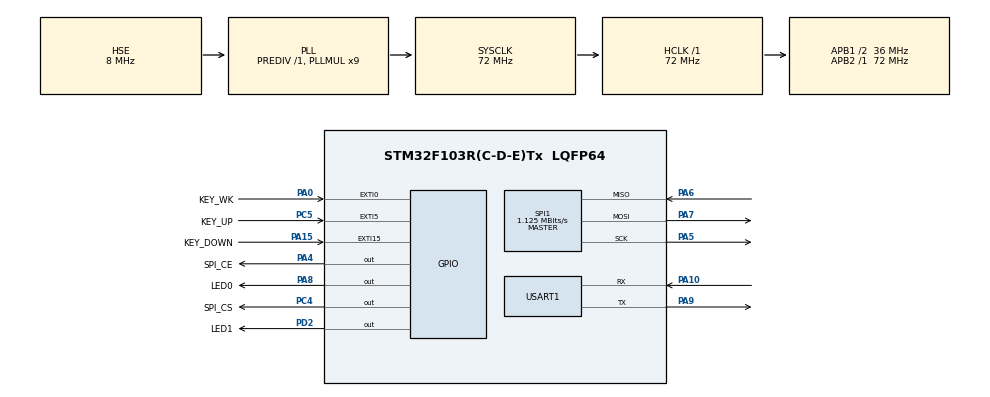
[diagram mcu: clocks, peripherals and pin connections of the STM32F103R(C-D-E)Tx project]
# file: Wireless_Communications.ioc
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Mcu.Family=STM32F1
Mcu.Name=STM32F103R(C-D-E)Tx
Mcu.Package=LQFP64
NVIC.EXTI0_IRQn=true\:1\:0\:true\:false\:true\:true\:true
NVIC.EXTI15_10_IRQn=true\:1\:2\:true\:false\:true\:true\:true
NVIC.EXTI9_5_IRQn=true\:1\:1\:true\:false\:true\:true\:true
NVIC.PriorityGroup=NVIC_PRIORITYGROUP_2
NVIC.SPI1_IRQn=true\:2\:0\:true\:false\:true\:true\:true
NVIC.USART1_IRQn=true\:0\:0\:false\:false\:true\:true\:true
PA0-WKUP.GPIO_Label=KEY_WK
PA0-WKUP.GPIO_PuPd=GPIO_PULLDOWN
PA0-WKUP.Signal=GPXTI0
PA10.Mode=Asynchronous
PA10.Signal=USART1_RX
PA13.Mode=Serial_Wire
PA13.Signal=SYS_JTMS-SWDIO
PA14.Mode=Serial_Wire
PA14.Signal=SYS_JTCK-SWCLK
PA15.GPIO_Label=KEY_DOWN
PA15.GPIO_PuPd=GPIO_PULLUP
PA15.Signal=GPXTI15
PA4.GPIO_Label=SPI_CE
PA4.Signal=GPIO_Output
PA5.Mode=Full_Duplex_Master
PA5.Signal=SPI1_SCK
PA6.Mode=Full_Duplex_Master
PA6.Signal=SPI1_MISO
PA7.Mode=Full_Duplex_Master
PA7.Signal=SPI1_MOSI
PA8.GPIO_Label=LED0
PA8.Signal=GPIO_Output
PA9.Mode=Asynchronous
PA9.Signal=USART1_TX
PC4.GPIO_Label=SPI_CS
PC4.Signal=GPIO_Output
PC5.GPIO_Label=KEY_UP
PC5.GPIO_PuPd=GPIO_PULLUP
PC5.Signal=GPXTI5
PD0-OSC_IN.Mode=HSE-External-Oscillator
PD0-OSC_IN.Signal=RCC_OSC_IN
PD1-OSC_OUT.Mode=HSE-External-Oscillator
PD1-OSC_OUT.Signal=RCC_OSC_OUT
PD2.GPIO_Label=LED1
PD2.Signal=GPIO_Output
ProjectManager.HeapSize=0x200
ProjectManager.StackSize=0x400
ProjectManager.TargetToolchain=STM32CubeIDE
RCC.AHBFreq_Value=72000000
RCC.APB1CLKDivider=RCC_HCLK_DIV2
RCC.APB1Freq_Value=36000000
RCC.APB1TimFreq_Value=72000000
RCC.APB2Freq_Value=72000000
RCC.APB2TimFreq_Value=72000000
RCC.HCLKFreq_Value=72000000
RCC.PLLMUL=RCC_PLL_MUL9
RCC.PLLSourceVirtual=RCC_PLLSOURCE_HSE
RCC.SYSCLKFreq_VALUE=72000000
RCC.SYSCLKSource=RCC_SYSCLKSOURCE_PLLCLK
RCC.USBFreq_Value=72000000
SPI1.BaudRatePrescaler=SPI_BAUDRATEPRESCALER_64
SPI1.CalculateBaudRate=1.125 MBits/s
SPI1.Direction=SPI_DIRECTION_2LINES
SPI1.Mode=SPI_MODE_MASTER
SPI1.VirtualType=VM_MASTER
USART1.VirtualMode=VM_ASYNC
board=custom

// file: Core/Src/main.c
/* USER CODE BEGIN Header */
/**
 ******************************************************************************
 * @file           : main.c
 * @brief          : Main program body
 ******************************************************************************
 * @attention
 *
 * <h2><center>&copy; Copyright (c) 2020 STMicroelectronics.
 * All rights reserved.</center></h2>
 *
 * This software component is licensed by ST under BSD 3-Clause license,
 * the "License"; You may not use this file except in compliance with the
 * License. You may obtain a copy of the License at:
 *                        opensource.org/licenses/BSD-3-Clause
 *
 ******************************************************************************
 */
/* USER CODE END Header */

#include "main.h"
#include "spi.h"
#include "usart.h"
#include "gpio.h"

/* USER CODE BEGIN Includes */
#include "lcd.h"
#include "stdio.h"
#include "nrf24L01.h"
#include "string.h"
#include "time.h"
/* USER CODE END Includes */

/* USER CODE BEGIN PM */
#define STATE_UNCHECK_MODE 0
#define STATE_IDLE 1
#define STATE_REQ_CONN 2
#define STATE_WAIT_CONN 3
#define STATE_TRY_SEND 4
#define STATE_TRY_RECV 5

#define l 22
/* USER CODE END PM */

/* USER CODE BEGIN PV */
// addr
extern uint8_t TX_ADDRESS[]; //send address
extern uint8_t RX_ADDRESS[]; //接收地址

extern uint8_t recv_ch;
extern uint8_t send_ch;
uint8_t init = 1;

// command
static uint8_t cmd_flag = 0;
static uint8_t cmd_buff[33] = "wuwu\0";
static int TLE_SCALE = 10;

static uint8_t friend_mode = 0;
static int send_to_friend = 2;

// LCD
int lastOutput = 0;
int fontColor[100];

char outputData[100][l + 1];
static uint8_t counter = 0;

static int state = 0;
static int conn_init_flag = 0;

// 串口数据
static int uLength = 0;
uint8_t rxBuffer[33];
static uint8_t inputData[60] = " \0";
static uint8_t send_flag = 0;
static uint8_t recv_flag = 0;
static uint8_t send_buff[60] = "send~~0";
static uint8_t recv_buff[60] = " \0";

static uint8_t tip[] =
		"Command Format <code>:<content>\n"
				" code         meaning                          detail in content\n"
				"  1   Modify message recv address      Ten digit hexadecimal number\n"
				"  2   Modify message send address      Ten digit hexadecimal number\n"
				"  3   Modify RF recv channel           Decimal number less than 255\n"
				"  4   Modify RF send receive channel   Decimal number less than 255\n"
				"  5   Modify TLE time                  Decimal number, int, unit is second\n"
				"  6   Modify friend mode               0 is unset friend mode, 1 is set\n"
				"  7   Modify send/recv mode            0: recv mode, 1: send recv mode, valid in friend mode\n"
				"  8   Print this help message          There can be no content, but don't forget the colon : \n";
/* USER CODE END PV */

void SystemClock_Config(void);

/* USER CODE BEGIN 0 */

void reset_flags() {
	send_flag = 0;
	recv_flag = 0;
	state = 0;
	conn_init_flag = 0;
	counter = 0;
	lastOutput = 0;
	cmd_flag = 0;

	init = 1;
	LCD_Rec();
//	NRF24L01_TX_Mode();
	NRF24L01_Init();
	HAL_GPIO_WritePin(LED0_GPIO_Port, LED0_Pin, GPIO_PIN_SET);
	HAL_GPIO_WritePin(LED1_GPIO_Port, LED1_Pin, GPIO_PIN_SET);
	LCD_Fill(181, 21, 199, 29, YELLOW);
}
int substr(char dst[], char src[], int start, int len) {
	char *p = src + start;   //定义指针变量指向�??要提取的字符的地�??
	int n = strlen(p);       //求字符串长度
	int i = 0;
	if (n < len) {
		len = n;

	}
	while (len != 0) {
		dst[i] = src[i + start];
		len--;
		i++;
	}                        //复制字符串到dst�??
	dst[i] = '\0';
	return 0;
}

void LCD_Rec() {
	if (init == 1) {
		LCD_Clear(GRAY);

		LCD_Fill(10, 10, 220, 90, WHITE);
		LCD_Fill(5, 5, 10, 95, YELLOW);
		LCD_Fill(10, 5, 50, 10, YELLOW);
		LCD_Fill(230, 100, 240, 310, YELLOW);
		LCD_Fill(100, 310, 240, 320, YELLOW);
		POINT_COLOR = BLACK;
		init = 0;

	}
}
void LCD_Head() {
	uint8_t temp[32];
	POINT_COLOR = RED;
	LCD_ShowString(15, 15, 200, 24, 24, (uint8_t*) "Group: 30");
	LCD_ShowNum(155, 20, TLE_SCALE, 3, 12);
	char LocalMac[] = { };
	POINT_COLOR = BLUE;
	sprintf(temp, "S: %02x.%02x.%02x.%02x.%02x / %d", TX_ADDRESS[0],
			TX_ADDRESS[1], TX_ADDRESS[2], TX_ADDRESS[3], TX_ADDRESS[4],
			send_ch);
	LCD_ShowString(55, 50, 200, 24, 12, (uint8_t*) temp);

	sprintf(temp, "R: %02x.%02x.%02x.%02x.%02x / %d", RX_ADDRESS[0],
			RX_ADDRESS[1], RX_ADDRESS[2], RX_ADDRESS[3], RX_ADDRESS[4],
			recv_ch);
	LCD_ShowString(55, 65, 200, 24, 12, (uint8_t*) temp);

	/*LCD_ShowString(10, 45, 200, 24, 12, (uint8_t*) TX_ADDRESS); //local mac
	 LCD_ShowString(10, 60, 200, 24, 12, (uint8_t*) RX_ADDRESS); //pair mac
	 LCD_ShowString(70, 45, 200, 24, 12, (uint8_t*) recv_ch); //local ch
	 LCD_ShowString(70, 60, 200, 24, 12, (uint8_t*) send_ch); //pair ch*/

	if (NRF24L01_Check() == 1) {
//		POINT_COLOR = RED;
//		LCD_DrawRectangle(180, 20, 200, 30);
		LCD_Fill(181, 21, 199, 29, RED);
//		LCD_ShowString(100, 10, 200, 24, 16, (uint8_t*) "NRF24L01 is ERROR");
	} else {
//		POINT_COLOR = GREEN;
//		LCD_ShowString(100, 10, 200, 24, 16, (uint8_t*) "NRF24L01 is OK");
//		LCD_DrawRectangle(180, 20, 200, 30);
		if (state == STATE_TRY_SEND || state == STATE_TRY_RECV) {
			LCD_Fill(181, 21, 199, 29, GREEN);
		} else {
			LCD_Fill(181, 21, 199, 29, YELLOW);
		}

	}
}

void LCD_Unconn() {
	//LCD_Head();
	LCD_Rec();
//	LCD_ShowString(10, 75, 200, 24, 12, (uint8_t*) "KEY_0: disconnect");
//	LCD_ShowString(10, 90, 200, 24, 12,
//			(uint8_t*) "Use \"\" to set new pair MAC");
//	LCD_ShowString(10, 105, 200, 24, 12,
//			(uint8_t*) "Use \"\" to set new channel");

}

void LCD_Conn() {
	if (send_flag == 0 && recv_flag == 0) {
		if (conn_init_flag == 0) {
			return;
		} else {
			conn_init_flag = 0;
		}

	}
	char *white_space = "                    ";
	char inputData[1024] = { 0 };
	//LCD_Head();

	POINT_COLOR = YELLOW;
	LCD_Color_Fill(10, 110, 220, 300, WHITE);

	//inputData = {};

	if (send_flag == 1 && state == STATE_TRY_SEND) {
		int size_s = strlen(send_buff);
		int start_s = 0;

		while (size_s > 0) {
			if (size_s < l) {
				strcpy(outputData[lastOutput], white_space);
				int white_space_size = l - size_s;
				substr(outputData[lastOutput] + white_space_size, send_buff,
						start_s * l, size_s);
			} else {
				substr(outputData[lastOutput], send_buff, start_s * l, l);
			}
			fontColor[lastOutput] = 0;
			size_s -= l;
			++start_s;

			++lastOutput;

		}
	}                        //send
	if (recv_flag == 1 && state == STATE_TRY_RECV) {
		int size_r = strlen(recv_buff);
		int start_r = 0;
		while (size_r > 0) {
			substr(outputData[lastOutput], recv_buff, start_r * l, l);
			++start_r;
			size_r -= l;
			fontColor[lastOutput] = 1;
			++lastOutput;
		} //receive
		recv_flag = 0;
	}
	int outpoint = lastOutput > 8 ? lastOutput - 8 : 0;
	int y = 110;

	while (outpoint < lastOutput) {
		POINT_COLOR = fontColor[outpoint] == 0 ? BRRED : BLACK;
		LCD_ShowString(25, y, 200, 15, 16, (uint8_t*) outputData[outpoint]);
		y += 24;
		++outpoint;
	}
	//LCD_ShowString(10, 130, 200, 10, 16, (uint8_t*) "SPACE");

}

uint8_t get_hex_num(uint8_t c) {
	if (c >= '0' && c <= '9') {
		return (uint8_t) (c - '0');
	} else if (c >= 'a' && c < 'z') {
		return (uint8_t) (c - 'a' + 10);
	}
	return (uint8_t) 1;
}

void LED_control() {
	if (counter % 20 == 0) {
		switch (state) {
		case STATE_UNCHECK_MODE:
			break;
		case STATE_IDLE:
			break;
		case STATE_REQ_CONN:
			HAL_GPIO_TogglePin(LED0_GPIO_Port, LED0_Pin);
			break;
		case STATE_WAIT_CONN:
			HAL_GPIO_TogglePin(LED0_GPIO_Port, LED0_Pin);
			break;
		case STATE_TRY_SEND:
			HAL_GPIO_TogglePin(LED0_GPIO_Port, LED0_Pin);
			HAL_GPIO_TogglePin(LED1_GPIO_Port, LED1_Pin);
			break;
		case STATE_TRY_RECV:
			HAL_GPIO_TogglePin(LED0_GPIO_Port, LED0_Pin);
			HAL_GPIO_TogglePin(LED1_GPIO_Port, LED1_Pin);
			break;
		default:
			break;

		}
	}

}
void HAL_UART_RxCpltCallback(UART_HandleTypeDef *huart) {
//	char msg[40];
	/*uint8_t *plus = '+';
	 HAL_UART_Transmit(&huart1, (uint8_t*) plus, strlen(plus), 1000);*/

	if (huart->Instance == USART1) {
		if (rxBuffer[0] == '\n') {
			inputData[uLength] = '\0';
			printf("DEBUG: data input from UART --> ");
			printf(inputData);
			printf("\n");
			if (inputData[0] > '0' && inputData[0] < '9'
					&& inputData[1] == ':') {
				cmd_flag = inputData[0] - '0';
				strcpy(cmd_buff, inputData + 2);
				switch (cmd_flag) {
				case 1:
					for (int i = 0; i < 5; ++i) {
						RX_ADDRESS[i] = get_hex_num(cmd_buff[2 * i]) * 16
								+ get_hex_num(cmd_buff[2 * i + 1]);
					}
					printf("DEBUG: Change RX_ADDRESS to %02x%02x%02x%02x%02x\n",
							RX_ADDRESS[0], RX_ADDRESS[1], RX_ADDRESS[2],
							RX_ADDRESS[3], RX_ADDRESS[4]);
					break;
				case 2:
					for (int i = 0; i < 5; ++i) {
						TX_ADDRESS[i] = get_hex_num(cmd_buff[2 * i]) * 16
								+ get_hex_num(cmd_buff[2 * i + 1]);
					}
					printf("DEBUG: Change TX_ADDRESS to %02x%02x%02x%02x%02x\n",
							TX_ADDRESS[0], TX_ADDRESS[1], TX_ADDRESS[2],
							TX_ADDRESS[3], TX_ADDRESS[4]);
					break;
				case 3:
					recv_ch = atoi(cmd_buff);
					printf("DEBUG: Change recv_ch to %s\n", cmd_buff);
					break;
				case 4:
					send_ch = atoi(cmd_buff);
					printf("DEBUG: Change send_ch to %s\n", cmd_buff);
					break;
				case 5:
					TLE_SCALE = atoi(cmd_buff);
					printf("DEBUG: Change TLE scale to %d\n", TLE_SCALE);
					break;
				case 6:
					friend_mode = atoi(cmd_buff);
					printf("DEBUG: Change friend mode to %d\n", friend_mode);
					break;
				case 7:
					if (friend_mode == 1) {
						send_to_friend = atoi(cmd_buff);
						if (send_to_friend == 1 && state == STATE_TRY_RECV) {
							state = STATE_TRY_SEND;
							printf(
									"DEBUG: Change mode to send to friend.\n");
						} else if (send_to_friend
								== 0&& state == STATE_TRY_SEND) {
							state = STATE_TRY_RECV;
							printf("DEBUG: Change mode to recv from friend.\n");
						}
					}
					break;
				case 8:
					printf(tip);
				default:
					break;
				}
			} else {
				strcpy(send_buff, inputData);
				send_flag = 1;
				/*printf("DEBUG: set send_flag: %d, data recv from uart: %s\n",
				 send_flag, inputData);*/

			}
			uLength = 0;
		} else {
			inputData[uLength] = rxBuffer[0];
			++uLength;
		}
	}
}

void try_conn() {
	uint8_t tmp_buff[33] = "-\0";
	uint8_t nrf_state = 0;

	if (state == STATE_REQ_CONN) {
		NRF24L01_TX_Mode();

		printf("DEBUG: Try conn other.\n");

		for (int i = 0; i < 180 * TLE_SCALE; ++i) {
			nrf_state = NRF24L01_TxPacket(tmp_buff);
			HAL_Delay(5);

			++counter;
			LED_control();

			if (nrf_state == TX_OK) {
				printf("DEBUG: Active request connection successful.\n");
				if(friend_mode == 1){
					printf("Recv mode, input command 7:1 change to Send Mode\n");
				}
				state = STATE_TRY_RECV;
				conn_init_flag = 1;
				HAL_GPIO_WritePin(LED0_GPIO_Port, LED0_Pin, GPIO_PIN_RESET);
				HAL_GPIO_WritePin(LED1_GPIO_Port, LED1_Pin, GPIO_PIN_SET);
				return;
			}

			if (state != STATE_REQ_CONN) {
				printf("DEBUG: Exit try request conn\n");
				break;
			}
		}
	}

	if (state == STATE_WAIT_CONN) {
		NRF24L01_RX_Mode();

		printf("DEBUG: Active connection fail, wait other conn me\n");

		for (int j = 0; j < 200 * TLE_SCALE; ++j) {
			nrf_state = NRF24L01_RxPacket(tmp_buff);
			HAL_Delay(5);
			++counter;
			LED_control();

			if (nrf_state == 0) {
				state = STATE_TRY_SEND;
				printf("DEBUG: Accept(passive) connection successful\n");
				if(friend_mode == 1){
					printf("Send mode, input command 7:0 change to Recv Mode or chat msg to send\n");
				}
				conn_init_flag = 1;
				HAL_GPIO_WritePin(LED0_GPIO_Port, LED0_Pin, GPIO_PIN_RESET);
				HAL_GPIO_WritePin(LED1_GPIO_Port, LED1_Pin, GPIO_PIN_SET);
				return;
			}
			if (state != STATE_WAIT_CONN) {
				printf("DEBUG: Exit try waiting conn\n");
				return;
			}

		}
		printf("DEBUG: Try conn time out, exit try conn\n");
//		state = STATE_IDLE;
		reset_flags();
	}

}

void try_recv() {
	uint8_t tmp_buff[60] = "+\0";
	uint8_t nrf_state = 0;

	NRF24L01_RX_Mode();

	for (int i = 0; i < 200 * TLE_SCALE; ++i) {
		if (state != STATE_TRY_RECV) {
			break;
		}
		++counter;
		LED_control();

		nrf_state = NRF24L01_RxPacket(tmp_buff);
		HAL_Delay(5);

		if (nrf_state == 0) {
			state = STATE_TRY_SEND;
			LCD_Fill(181, 21, 199, 29, GREEN);
			if (tmp_buff[0] == '@') {
				/*HAL_UART_Transmit(&huart1, (uint8_t*) recv_buff + 1,
				 strlen(recv_buff) - 1, 500);*/
				recv_flag = 1;
				strcpy(recv_buff, tmp_buff + 1);
				printf("DEBUG: recv --> ");
				printf(recv_buff);
				printf("\n");
			}
			return;
		}
		if (i > 140 * TLE_SCALE) {
			LCD_Fill(181, 21, 199, 29, YELLOW);
		}
	}

	if(friend_mode == 0 || state == STATE_IDLE ){
		printf("DEBUG: try recv ping time out, disconnect.\n");
			/*state = STATE_IDLE;
			 init = 1;*/
			reset_flags();
	}
}

void try_send() {
	uint8_t tmp_buff[60] = " \0";
	uint8_t nrf_state = 0;

	if (send_flag == 1) {
		tmp_buff[0] = '@';
		strcpy(tmp_buff + 1, send_buff);
	}

	NRF24L01_TX_Mode();

	for (int i = 0; i < 80 * TLE_SCALE; ++i) {
		if (state != STATE_TRY_SEND) {
			break;
		}

		++counter;
		LED_control();

		nrf_state = NRF24L01_TxPacket(tmp_buff);
//		HAL_Delay(5);

		if (nrf_state == TX_OK) {
			state = STATE_TRY_RECV;

			LCD_Fill(181, 21, 199, 29, GREEN);
			if (send_flag == 1) {
				send_flag = 0;
				printf("DEBUG: send --> ");
				printf(send_buff);
				printf("\n");
				/*HAL_UART_Transmit(&huart1, (uint8_t*) send_buff,
				 strlen(send_buff),
				 500);*/
			}
			return;
		}

		if (i > 56 * TLE_SCALE) {
			LCD_Fill(181, 21, 199, 29, YELLOW);
		}

	}

	if(friend_mode==0 || state == STATE_IDLE){
		printf("DEBUG: try send ping time out, disconnect.\n");
			/*state = STATE_IDLE;
			 init = 1;*/
			reset_flags();
	}
}

void HAL_GPIO_EXTI_Callback(uint16_t GPIO_Pin) {
//	HAL_Delay(100);
	switch (GPIO_Pin) {

	case KEY_UP_Pin:
		if (HAL_GPIO_ReadPin(KEY_UP_GPIO_Port, KEY_UP_Pin) == GPIO_PIN_RESET) {
			//HAL_GPIO_TogglePin(LED0_GPIO_Port, LED0_Pin);
			HAL_Delay(100);
			if (state == STATE_REQ_CONN) {
				state = STATE_WAIT_CONN;
				printf("DEBUG: Try waiting active conn\n");
			} else if (state == STATE_WAIT_CONN) {
				state = STATE_IDLE;
				reset_flags();
				printf("DEBUG: Active cancel connection\n");
			} else {
				/*state = STATE_IDLE;
				 init = 1;*/
				reset_flags();
				printf("DEBUG: Active disconnection\n");
			}
		}
		break;
	case KEY_DOWN_Pin:
		if (HAL_GPIO_ReadPin(KEY_DOWN_GPIO_Port, KEY_DOWN_Pin)
				== GPIO_PIN_RESET) {
//			HAL_Delay(100);
//	 HAL_GPIO_TogglePin(LED1_GPIO_Port, LED1_Pin);
			if (state == STATE_IDLE) {
				printf("DEBUG: Try active conn\n");
				state = STATE_REQ_CONN;
			} /*else if (state == STATE_REQ_CONN) {
			 state = STATE_WAIT_CONN;
			 printf("DEBUG: Try waiting active conn\n");
			 }*/
		}
		break;
	case KEY_WK_Pin:
		/*if (HAL_GPIO_ReadPin(KEY_WK_GPIO_Port, KEY_WK_Pin) == GPIO_PIN_SET) {
		 HAL_GPIO_TogglePin(LED0_GPIO_Port, LED0_Pin);
		 HAL_GPIO_TogglePin(LED1_GPIO_Port, LED1_Pin);
		 }*/
		break;
	default:
		break;
	}
}

/* USER CODE END 0 */

int main(void) {

	/* MCU Configuration--------------------------------------------------------*/

	/* Reset of all peripherals, Initializes the Flash interface and the Systick. */
	HAL_Init();

	/* USER CODE BEGIN Init */
	LCD_Init();
	/* USER CODE END Init */

	/* Configure the system clock */
	SystemClock_Config();

	/* Initialize all configured peripherals */
	MX_GPIO_Init();
	MX_SPI1_Init();
	MX_USART1_UART_Init();
	/* USER CODE BEGIN 2 */

	NRF24L01_Init();
	init = 1;
	LCD_Rec();
	state = STATE_UNCHECK_MODE;
	HAL_GPIO_WritePin(LED0_GPIO_Port, LED0_Pin, GPIO_PIN_SET);
	HAL_GPIO_WritePin(LED1_GPIO_Port, LED1_Pin, GPIO_PIN_SET);
	HAL_Delay(5);
	HAL_UART_Receive_IT(&huart1, (uint8_t*) rxBuffer, 1);

	for (int j = 0; j < 100; ++j) {
		outputData[j][l] = '\0';
	}
	printf(tip);
	/* USER CODE END 2 */

	/* Infinite loop */
	/* USER CODE BEGIN WHILE */

	while (1) {
		++counter;
		//printf("%d", state);
		HAL_Delay(20);
		if (counter % 25 == 0 && NRF24L01_Check() == 1) {
			state = STATE_UNCHECK_MODE;
			printf("DEBUG: Module exception.\n");
		}
		// USER CODE END WHILE
		LCD_Head();
		switch (state) {
		case STATE_UNCHECK_MODE:
			LCD_Unconn();
			if (counter % 50 == 0) {
				printf("DEBUG: Checking module\n");
			}
			for (int i = 0; i < 300; ++i) {
				if (NRF24L01_Check() == 0) {
					printf("DEBUG: Module pass check\n");
					state = STATE_IDLE;
					break;
				}
			}

			break;

		case STATE_REQ_CONN:
			LCD_Unconn();
			HAL_GPIO_WritePin(LED0_GPIO_Port, LED0_Pin, GPIO_PIN_RESET);
			HAL_GPIO_WritePin(LED1_GPIO_Port, LED1_Pin, GPIO_PIN_SET);
			try_conn();
			break;
		case STATE_TRY_RECV:
			LCD_Conn();
			try_recv();
			if (friend_mode == 1 && send_to_friend == 0) {
				state = STATE_TRY_RECV;
			}
			break;
		case STATE_TRY_SEND:
			LCD_Conn();
			try_send();
			if (friend_mode == 1 && send_to_friend == 1) {
				state = STATE_TRY_SEND;
			}
			break;
		default:
			LCD_Unconn();
			break;
		}
		/* USER CODE END WHILE */

	}
}

void SystemClock_Config(void) {
	RCC_OscInitTypeDef RCC_OscInitStruct = { 0 };
	RCC_ClkInitTypeDef RCC_ClkInitStruct = { 0 };

	/** Initializes the CPU, AHB and APB busses clocks
	 */
	RCC_OscInitStruct.OscillatorType = RCC_OSCILLATORTYPE_HSE;
	RCC_OscInitStruct.HSEState = RCC_HSE_ON;
	RCC_OscInitStruct.HSEPredivValue = RCC_HSE_PREDIV_DIV1;
	RCC_OscInitStruct.HSIState = RCC_HSI_ON;
	RCC_OscInitStruct.PLL.PLLState = RCC_PLL_ON;
	RCC_OscInitStruct.PLL.PLLSource = RCC_PLLSOURCE_HSE;
	RCC_OscInitStruct.PLL.PLLMUL = RCC_PLL_MUL9;
	if (HAL_RCC_OscConfig(&RCC_OscInitStruct) != HAL_OK) {
		Error_Handler();
	}
	/** Initializes the CPU, AHB and APB busses clocks
	 */
	RCC_ClkInitStruct.ClockType = RCC_CLOCKTYPE_HCLK | RCC_CLOCKTYPE_SYSCLK
			| RCC_CLOCKTYPE_PCLK1 | RCC_CLOCKTYPE_PCLK2;
	RCC_ClkInitStruct.SYSCLKSource = RCC_SYSCLKSOURCE_PLLCLK;
	RCC_ClkInitStruct.AHBCLKDivider = RCC_SYSCLK_DIV1;
	RCC_ClkInitStruct.APB1CLKDivider = RCC_HCLK_DIV2;
	RCC_ClkInitStruct.APB2CLKDivider = RCC_HCLK_DIV1;

	if (HAL_RCC_ClockConfig(&RCC_ClkInitStruct, FLASH_LATENCY_2) != HAL_OK) {
		Error_Handler();
	}
}

void Error_Handler(void) {
}

/************************ (C) COPYRIGHT STMicroelectronics *****END OF FILE****/
